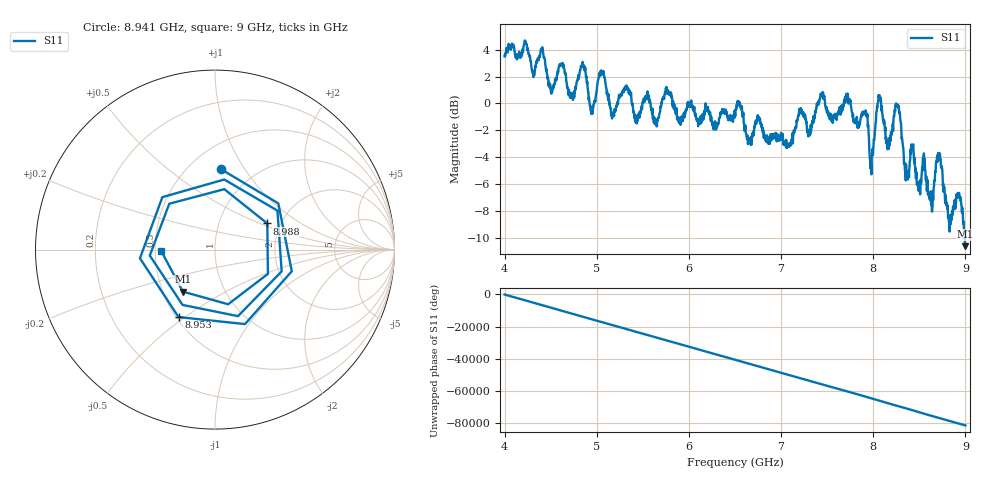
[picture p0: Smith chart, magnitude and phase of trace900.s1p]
! Created with skrf 1.8.0 (http://scikit-rf.org).
# Hz S RI R 50.0
!freq ReS11 ImS11
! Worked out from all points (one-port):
!   1601 points, 4 GHz to 9 GHz, reference 50 ohm
!   lowest |S11| = -10.6 dB at 8.997 GHz (marker M1), VSWR 1.84, Z = 31.6 - j16.2 ohm
!   |S11| at or under -10 dB: 8.993202 GHz to end of sweep
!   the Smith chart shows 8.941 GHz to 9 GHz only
!   S11 on the Smith chart (normalised r, x): 8.941 GHz: 0.71, +0.79; 8.953 GHz: 0.51, -0.47; 8.988 GHz: 1.71, +0.56; 9 GHz: 0.54, -0.01
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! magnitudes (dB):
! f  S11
! 4 GHz  3.5
! 4.509 GHz  0.8
! 4.625 GHz  2.9
! 4.731 GHz  0.5
! 4.853 GHz  2.7
! 4.944 GHz  -0.7
! 5.05 GHz  2.1
! 5.162 GHz  -0.7
! 5.25 GHz  0.4
! 5.875 GHz  -1.1
! 6.5 GHz  -0.7
! 7.125 GHz  -2.5
! 7.75 GHz  0.2
! 7.916 GHz  -0.7
! 7.981 GHz  -5.3
! 8.059 GHz  0.6
! 8.162 GHz  -2.8
! 8.266 GHz  -0.2
! 8.375 GHz  -5.7
! 8.428 GHz  -3.2
! 8.628 GHz  -7.6
! 8.706 GHz  -3.7
! 8.828 GHz  -9.5
! 8.941 GHz  -7.0
! 8.953 GHz  -7.4
! 8.988 GHz  -9.7
! 8.997 GHz  -10.6
! 9 GHz  -10.4
